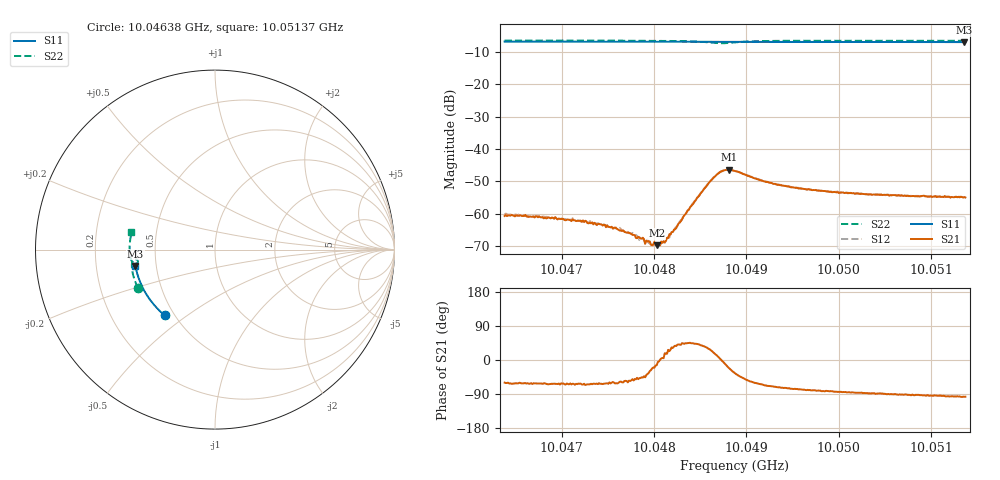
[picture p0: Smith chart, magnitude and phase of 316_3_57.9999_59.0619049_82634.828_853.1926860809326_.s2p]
#  HZ  S  RI  R  50.00
! Rohde & Schwarz Vector Network Analyzer
! Rohde-Schwarz,ZNB20-2Port,1311601062101988,3.16
! Created: UTC 3/21/2024, 1:04:24 AM
! freq[Hz]  re:S11  im:S11  re:S21  im:S21  re:S12  im:S12  re:S22  im:S22
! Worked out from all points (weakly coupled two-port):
!   401 points, 10.04638 GHz to 10.05137 GHz, reference 50 ohm
!   highest |S21| = -46.42 dB at 10.04881 GHz (marker M1); lowest = -69.8 dB at 10.04803 GHz (marker M2)
!   lowest |S11| = -6.9 dB at 10.05136 GHz (marker M3), VSWR 2.65, Z = 19 - j4.36 ohm
!   |S11| at or under -10 dB: nowhere
!   |S22| runs from -7.2 to -6.4 dB; largest |S21 - S12| = 0.00034
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1.0046382e10  -0.2794 -0.3669  0.000464 -0.000794  0.000542 -0.00081  -0.43 -0.2133
1.0046581e10  -0.2896 -0.3585  0.000435 -0.000809  0.000509 -0.000804  -0.4355 -0.2009
1.0047143e10  -0.3166 -0.3331  0.000331 -0.000718  0.000412 -0.000716  -0.449 -0.1653
1.0047217e10  -0.32 -0.3296  0.000322 -0.000672  0.000389 -0.00065  -0.4507 -0.1604
1.004733e10  -0.3251 -0.3242  0.000322 -0.000659  0.000412 -0.000646  -0.4529 -0.1531
1.0047617e10  -0.338 -0.31  0.000282 -0.000484  0.000292 -0.000507  -0.4582 -0.1334
1.0047791e10  -0.3453 -0.3013  0.000295 -0.000355  0.000355 -0.000324  -0.4607 -0.1212
1.0047966e10  -0.3526 -0.2921  0.000294 -0.000149  0.000307 -0.000134  -0.4627 -0.108
1.0048028e10  -0.3549 -0.289  0.000313 -7.71e-05  0.000344 -4.89e-05  -0.4632 -0.1032
1.0048053e10  -0.3559 -0.2876  0.000334 -2.21e-05  0.000313 3.75e-06  -0.4632 -0.1013
1.0048078e10  -0.357 -0.2862  0.000367 2.62e-05  0.000368 3.06e-05  -0.4635 -0.0992
1.0048141e10  -0.3594 -0.283  0.000404 0.000119  0.000383 0.000164  -0.4636 -0.0943
1.0048415e10  -0.3698 -0.2682  0.000983 0.000961  0.000957 0.00104  -0.4595 -0.0695
1.0048627e10  -0.3774 -0.2566  0.0031 0.00134  0.00303 0.0015  -0.4403 -0.0552
1.0048727e10  -0.3808 -0.2512  0.0045 3.13e-05  0.0045 0.000307  -0.4297 -0.0634
1.0048814e10  -0.3837 -0.2464  0.00443 -0.00178  0.00456 -0.00149  -0.4332 -0.0749
1.0048877e10  -0.3858 -0.2431  0.00375 -0.00261  0.00393 -0.00244  -0.4414 -0.0782
1.0049313e10  -0.3999 -0.2178  0.000958 -0.00272  0.0011 -0.00268  -0.4706 -0.0467
1.0049713e10  -0.4112 -0.1942  0.000399 -0.00227  0.000537 -0.00228  -0.4751 -0.0157
1.0050549e10  -0.4305 -0.1428  -1.37e-05 -0.00189  0.000147 -0.00194  -0.4739 0.0425
1.005136e10  -0.443 -0.0912  -0.000224 -0.00179  -0.000112 -0.00179  -0.4655 0.0962
1.0051372e10  -0.4432 -0.0905  -0.000212 -0.00176  -0.00014 -0.00179  -0.4654 0.097
